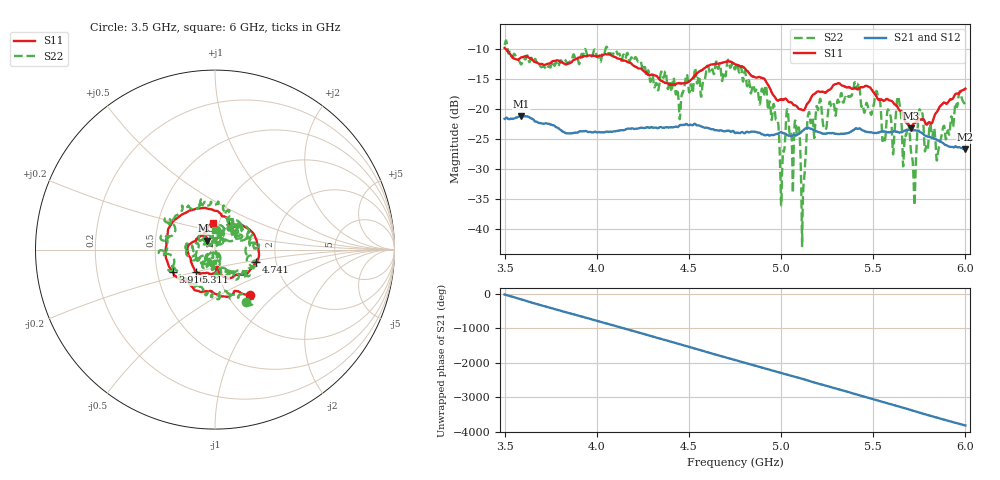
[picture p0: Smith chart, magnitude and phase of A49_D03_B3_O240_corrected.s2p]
! Created with skrf 1.9.0 (http://scikit-rf.org).
# Hz S RI R 50.0
!freq ReS11 ImS11 ReS21 ImS21 ReS12 ImS12 ReS22 ImS22
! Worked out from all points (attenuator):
!   1601 points, 3.5 GHz to 6 GHz, reference 50 ohm
!   highest |S21| = -21.24 dB at 3.591 GHz (marker M1); lowest = -26.8 dB at 6 GHz (marker M2)
!   lowest |S11| = -23.3 dB at 5.703 GHz (marker M3), VSWR 1.15, Z = 45.3 + j4.5 ohm
!   |S11| at or under -10 dB: 3.504 GHz to end of sweep
!   |S22| runs from -42.9 to -8.6 dB; largest |S21 - S12| = 0.00094
!   S11 on the Smith chart (normalised r, x): 3.5 GHz: 1.26, -0.71; 3.916 GHz: 0.60, -0.16; 4.741 GHz: 1.57, -0.24; 5.311 GHz: 0.78, -0.20; 6 GHz: 0.94, +0.28
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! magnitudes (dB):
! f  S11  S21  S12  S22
! 3.5 GHz  -9.9  -21.7  -21.7  -9.4
! 3.591 GHz  -11.5  -21.2  -21.2  -12.6
! 3.916 GHz  -11.5  -23.8  -23.8  -11.0
! 3.917 GHz  -11.5  -23.8  -23.8  -10.9
! 4.334 GHz  -14.9  -23.3  -23.2  -16.9
! 4.455 GHz  -15.8  -22.7  -22.7  -20.3
! 4.741 GHz  -12.4  -23.7  -23.8  -12.5
! 4.75 GHz  -12.6  -24.1  -24.0  -13.5
! 4.969 GHz  -18.2  -24.3  -24.3  -21.3
! 5.005 GHz  -18.5  -24.0  -24.0  -31.2
! 5.033 GHz  -18.6  -24.4  -24.3  -20.1
! 5.088 GHz  -19.7  -24.4  -24.4  -24.1
! 5.119 GHz  -20.3  -23.6  -23.6  -34.8
! 5.145 GHz  -19.1  -23.2  -23.2  -21.2
! 5.167 GHz  -17.9  -23.4  -23.4  -21.6
! 5.311 GHz  -15.8  -24.2  -24.2  -18.7
! 5.584 GHz  -18.6  -23.9  -23.9  -20.3
! 5.703 GHz  -23.3  -23.6  -23.6  -26.5
! 5.72 GHz  -22.5  -23.6  -23.6  -33.0
! 5.756 GHz  -21.9  -23.9  -23.9  -20.5
! 5.852 GHz  -20.2  -25.3  -25.3  -27.3
! 6 GHz  -16.7  -26.8  -26.7  -19.4
